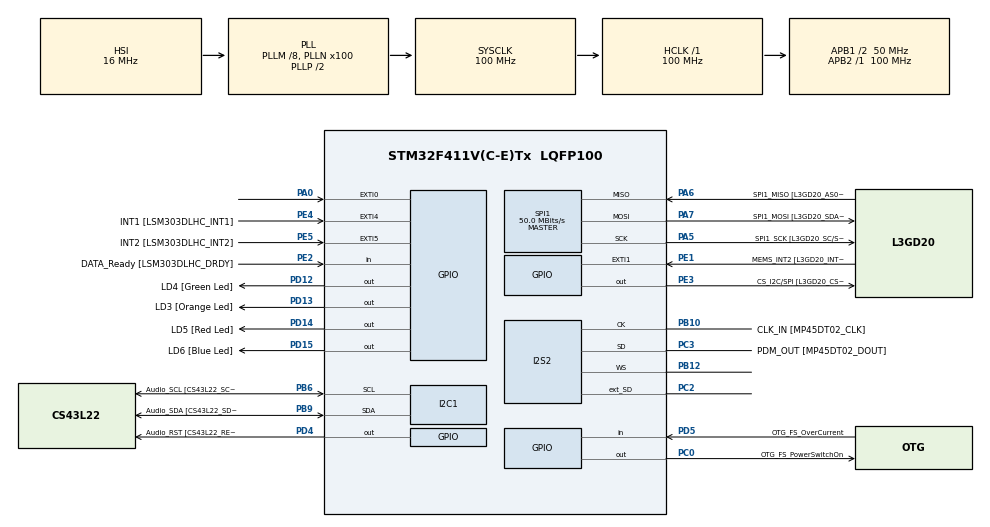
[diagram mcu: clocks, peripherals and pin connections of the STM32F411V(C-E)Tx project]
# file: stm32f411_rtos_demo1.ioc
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I2S2.AudioFreq=I2S_AUDIOFREQ_96K
I2S2.ErrorAudioFreq=1.72 %
I2S2.FullDuplexMode=I2S_FULLDUPLEXMODE_ENABLE
I2S2.Instance=SPI$Index
I2S2.RealAudioFreq=97.656 KHz
I2S2.VirtualMode=I2S_MODE_MASTER
Mcu.Family=STM32F4
Mcu.Name=STM32F411V(C-E)Tx
Mcu.Package=LQFP100
NVIC.PriorityGroup=NVIC_PRIORITYGROUP_4
NVIC.TIM5_IRQn=true\:0\:0\:false\:false\:true\:false\:true\:true
NVIC.TimeBase=TIM5_IRQn
NVIC.TimeBaseIP=TIM5
PA0-WKUP.GPIO_ModeDefaultEXTI=GPIO_MODE_EVT_RISING
PA0-WKUP.Signal=GPXTI0
PA10.GPIO_Label=OTG_FS_ID
PA10.Signal=USB_OTG_FS_ID
PA11.GPIO_Label=OTG_FS_DM
PA11.Signal=USB_OTG_FS_DM
PA12.GPIO_Label=OTG_FS_DP
PA12.Signal=USB_OTG_FS_DP
PA13.GPIO_Label=SWDIO
PA13.Mode=Serial_Wire
PA13.Signal=SYS_JTMS-SWDIO
PA14.GPIO_Label=SWCLK
PA14.Mode=Serial_Wire
PA14.Signal=SYS_JTCK-SWCLK
PA4.GPIO_Label=I2S3_WS [CS43L22_LRCK]
PA4.GPIO_Mode=GPIO_MODE_AF_PP
PA4.GPIO_PuPd=GPIO_NOPULL
PA4.GPIO_Speed=GPIO_SPEED_FREQ_LOW
PA4.Signal=I2S3_WS
PA5.GPIO_Label=SPI1_SCK [L3GD20_SC/SPC]
PA5.Mode=Full_Duplex_Master
PA5.Signal=SPI1_SCK
PA6.GPIO_Label=SPI1_MISO [L3GD20_AS0/SDO]
PA6.Mode=Full_Duplex_Master
PA6.Signal=SPI1_MISO
PA7.GPIO_Label=SPI1_MOSI [L3GD20_SDA/SDI/SDO]
PA7.Mode=Full_Duplex_Master
PA7.Signal=SPI1_MOSI
PA9.GPIO_Label=VBUS_FS
PA9.Signal=USB_OTG_FS_VBUS
PB10.GPIO_Label=CLK_IN [MP45DT02_CLK]
PB10.Mode=Full_Duplex_Master
PB10.Signal=I2S2_CK
PB12.Mode=Full_Duplex_Master
PB12.Signal=I2S2_WS
PB3.GPIO_Label=SWO
PB3.Signal=SYS_JTDO-SWO
PB6.GPIO_Label=Audio_SCL [CS43L22_SCL]
PB6.GPIO_Mode=GPIO_MODE_AF_OD
PB6.GPIO_Pu=GPIO_PULLUP
PB6.GPIO_PuPd=GPIO_NOPULL
PB6.GPIO_Speed=GPIO_SPEED_FREQ_LOW
PB6.Mode=I2C
PB6.Signal=I2C1_SCL
PB9.GPIO_Label=Audio_SDA [CS43L22_SDA]
PB9.GPIO_Mode=GPIO_MODE_AF_OD
PB9.GPIO_Pu=GPIO_PULLUP
PB9.GPIO_PuPd=GPIO_NOPULL
PB9.GPIO_Speed=GPIO_SPEED_FREQ_LOW
PB9.Mode=I2C
PB9.Signal=I2C1_SDA
PC0.GPIO_Label=OTG_FS_PowerSwitchOn
PC0.PinState=GPIO_PIN_SET
PC0.Signal=GPIO_Output
PC10.GPIO_Label=I2S3_SCK [CS43L22_SCLK]
PC10.GPIO_Mode=GPIO_MODE_AF_PP
PC10.GPIO_PuPd=GPIO_NOPULL
PC10.GPIO_Speed=GPIO_SPEED_FREQ_LOW
PC10.Signal=I2S3_CK
PC12.GPIO_Label=I2S3_SD [CS43L22_SDIN]
PC12.GPIO_Mode=GPIO_MODE_AF_PP
PC12.GPIO_PuPd=GPIO_NOPULL
PC12.GPIO_Speed=GPIO_SPEED_FREQ_LOW
PC12.Signal=I2S3_SD
PC14-OSC32_IN.GPIO_Label=PC14-OSC32_IN
PC14-OSC32_IN.Signal=RCC_OSC32_IN
PC15-OSC32_OUT.GPIO_Label=PC15-OSC32_OUT
PC15-OSC32_OUT.Signal=RCC_OSC32_OUT
PC2.Mode=Full_Duplex_Master
PC2.Signal=I2S2_ext_SD
PC3.GPIO_Label=PDM_OUT [MP45DT02_DOUT]
PC3.Mode=Full_Duplex_Master
PC3.Signal=I2S2_SD
PC7.GPIO_Label=I2S3_MCK [CS43L22_MCLK]
PC7.GPIO_Mode=GPIO_MODE_AF_PP
PC7.GPIO_PuPd=GPIO_NOPULL
PC7.GPIO_Speed=GPIO_SPEED_FREQ_LOW
PC7.Signal=I2S3_MCK
PD12.GPIO_Label=LD4 [Green Led]
PD12.GPIO_PuPd=GPIO_NOPULL
PD12.GPIO_Speed=GPIO_SPEED_FREQ_LOW
PD12.Signal=GPIO_Output
PD13.GPIO_Label=LD3 [Orange Led]
PD13.GPIO_PuPd=GPIO_NOPULL
PD13.GPIO_Speed=GPIO_SPEED_FREQ_LOW
PD13.Signal=GPIO_Output
PD14.GPIO_Label=LD5 [Red Led]
PD14.GPIO_PuPd=GPIO_NOPULL
PD14.GPIO_Speed=GPIO_SPEED_FREQ_LOW
PD14.Signal=GPIO_Output
PD15.GPIO_Label=LD6 [Blue Led]
PD15.GPIO_PuPd=GPIO_NOPULL
PD15.GPIO_Speed=GPIO_SPEED_FREQ_LOW
PD15.Signal=GPIO_Output
PD4.GPIO_Label=Audio_RST [CS43L22_RESET]
PD4.Signal=GPIO_Output
PD5.GPIO_Label=OTG_FS_OverCurrent
PD5.Signal=GPIO_Input
PE1.GPIO_Label=MEMS_INT2 [L3GD20_INT2]
PE1.GPIO_ModeDefaultEXTI=GPIO_MODE_EVT_RISING
PE1.Signal=GPXTI1
PE2.GPIO_Label=DATA_Ready [LSM303DLHC_DRDY]
PE2.Signal=GPIO_Input
PE3.GPIO_Label=CS_I2C/SPI [L3GD20_CS_I2C/SPI]
PE3.Signal=GPIO_Output
PE4.GPIO_Label=INT1 [LSM303DLHC_INT1]
PE4.GPIO_ModeDefaultEXTI=GPIO_MODE_EVT_RISING
PE4.Signal=GPXTI4
PE5.GPIO_Label=INT2 [LSM303DLHC_INT2]
PE5.GPIO_ModeDefaultEXTI=GPIO_MODE_EVT_RISING
PE5.Signal=GPXTI5
PH0\ -\ OSC_IN.GPIO_Label=PH0-OSC_IN
PH0\ -\ OSC_IN.Signal=RCC_OSC_IN
PH1\ -\ OSC_OUT.GPIO_Label=PH1-OSC_OUT
PH1\ -\ OSC_OUT.Signal=RCC_OSC_OUT
ProjectManager.HeapSize=0x200
ProjectManager.StackSize=0x400
ProjectManager.TargetToolchain=STM32CubeIDE
RCC.48MHZClocksFreq_Value=18181818.181818184
RCC.AHBFreq_Value=100000000
RCC.APB1CLKDivider=RCC_HCLK_DIV2
RCC.APB1Freq_Value=50000000
RCC.APB1TimFreq_Value=100000000
RCC.APB2Freq_Value=100000000
RCC.APB2TimFreq_Value=100000000
RCC.CortexFreq_Value=100000000
RCC.HCLKFreq_Value=100000000
RCC.HSE_VALUE=8000000
RCC.HSI_VALUE=16000000
RCC.PLLI2SM=8
RCC.PLLI2SN=50
RCC.PLLM=8
RCC.PLLN=100
RCC.PLLQ=11
RCC.SYSCLKFreq_VALUE=100000000
RCC.SYSCLKSource=RCC_SYSCLKSOURCE_PLLCLK
RCC.VCOOutputFreq_Value=200000000
SPI1.BaudRatePrescaler=SPI_BAUDRATEPRESCALER_2
SPI1.CalculateBaudRate=50.0 MBits/s
SPI1.Direction=SPI_DIRECTION_2LINES
SPI1.Mode=SPI_MODE_MASTER
SPI1.VirtualType=VM_MASTER
VP_SYS_VS_tim5.Mode=TIM5
board=STM32F411E-DISCO

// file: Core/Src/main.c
/* USER CODE BEGIN Header */
/**
  ******************************************************************************
  * @file           : main.c
  * @brief          : Main program body
  ******************************************************************************
  * @attention
  *
  * Copyright (c) 2023 STMicroelectronics.
  * All rights reserved.
  *
  * This software is licensed under terms that can be found in the LICENSE file
  * in the root directory of this software component.
  * If no LICENSE file comes with this software, it is provided AS-IS.
  *
  ******************************************************************************
  */
/* USER CODE END Header */
#include "main.h"

/* USER CODE BEGIN Includes */
#include <stdio.h>
#include "FreeRTOS.h"
#include "task.h"

/* USER CODE END Includes */

I2C_HandleTypeDef hi2c1;

I2S_HandleTypeDef hi2s2;

SPI_HandleTypeDef hspi1;

/* USER CODE BEGIN PV */
#define DWT_CTRL 	( *(volatile uint32_t*) 0xE0001000 )

/* USER CODE END PV */

void SystemClock_Config(void);
static void MX_GPIO_Init(void);
static void MX_I2C1_Init(void);
static void MX_I2S2_Init(void);
static void MX_SPI1_Init(void);
/* USER CODE BEGIN PFP */
static void task1_handler(void *parameters);
static void task2_handler(void *parameters);

/* USER CODE END PFP */

int main(void)
{
  /* USER CODE BEGIN 1 */
	TaskHandle_t task1_handle;
	TaskHandle_t task2_handle;
	BaseType_t task_status;
  /* USER CODE END 1 */

  /* MCU Configuration--------------------------------------------------------*/

  /* Reset of all peripherals, Initializes the Flash interface and the Systick. */
  HAL_Init();

  /* Configure the system clock */
  SystemClock_Config();

  /* Initialize all configured peripherals */
  MX_GPIO_Init();
  MX_I2C1_Init();
  MX_I2S2_Init();
  MX_SPI1_Init();
  /* USER CODE BEGIN 2 */
  //enable CYCCNT counter
  DWT_CTRL |= (1 << 0);

  SEGGER_SYSVIEW_Conf();
  SEGGER_SYSVIEW_Start();

  task_status = xTaskCreate(task1_handler, "Task_1", 200, "Hello world from task 1", 2, &task1_handle);
  configASSERT( task_status == pdPASS);
  task_status = xTaskCreate(task2_handler, "Task_2", 200, "Hello world from task 2", 2, &task2_handle);
  configASSERT( task_status == pdPASS);

  /*start freeRTOS scheduler*/
  vTaskStartScheduler();

  /* USER CODE END 2 */

  /* Infinite loop */
  while (1)
  {

  }
}

void SystemClock_Config(void)
{
  RCC_OscInitTypeDef RCC_OscInitStruct = {0};
  RCC_ClkInitTypeDef RCC_ClkInitStruct = {0};

  /** Configure the main internal regulator output voltage
  */
  __HAL_RCC_PWR_CLK_ENABLE();
  __HAL_PWR_VOLTAGESCALING_CONFIG(PWR_REGULATOR_VOLTAGE_SCALE1);

  /** Initializes the RCC Oscillators according to the specified parameters
  * in the RCC_OscInitTypeDef structure.
  */
  RCC_OscInitStruct.OscillatorType = RCC_OSCILLATORTYPE_HSI;
  RCC_OscInitStruct.HSIState = RCC_HSI_ON;
  RCC_OscInitStruct.HSICalibrationValue = RCC_HSICALIBRATION_DEFAULT;
  RCC_OscInitStruct.PLL.PLLState = RCC_PLL_ON;
  RCC_OscInitStruct.PLL.PLLSource = RCC_PLLSOURCE_HSI;
  RCC_OscInitStruct.PLL.PLLM = 8;
  RCC_OscInitStruct.PLL.PLLN = 100;
  RCC_OscInitStruct.PLL.PLLP = RCC_PLLP_DIV2;
  RCC_OscInitStruct.PLL.PLLQ = 11;
  if (HAL_RCC_OscConfig(&RCC_OscInitStruct) != HAL_OK)
  {
    Error_Handler();
  }

  /** Initializes the CPU, AHB and APB buses clocks
  */
  RCC_ClkInitStruct.ClockType = RCC_CLOCKTYPE_HCLK|RCC_CLOCKTYPE_SYSCLK
                              |RCC_CLOCKTYPE_PCLK1|RCC_CLOCKTYPE_PCLK2;
  RCC_ClkInitStruct.SYSCLKSource = RCC_SYSCLKSOURCE_PLLCLK;
  RCC_ClkInitStruct.AHBCLKDivider = RCC_SYSCLK_DIV1;
  RCC_ClkInitStruct.APB1CLKDivider = RCC_HCLK_DIV2;
  RCC_ClkInitStruct.APB2CLKDivider = RCC_HCLK_DIV1;

  if (HAL_RCC_ClockConfig(&RCC_ClkInitStruct, FLASH_LATENCY_3) != HAL_OK)
  {
    Error_Handler();
  }
}

static void MX_I2C1_Init(void)
{

  hi2c1.Instance = I2C1;
  hi2c1.Init.ClockSpeed = 100000;
  hi2c1.Init.DutyCycle = I2C_DUTYCYCLE_2;
  hi2c1.Init.OwnAddress1 = 0;
  hi2c1.Init.AddressingMode = I2C_ADDRESSINGMODE_7BIT;
  hi2c1.Init.DualAddressMode = I2C_DUALADDRESS_DISABLE;
  hi2c1.Init.OwnAddress2 = 0;
  hi2c1.Init.GeneralCallMode = I2C_GENERALCALL_DISABLE;
  hi2c1.Init.NoStretchMode = I2C_NOSTRETCH_DISABLE;
  if (HAL_I2C_Init(&hi2c1) != HAL_OK)
  {
    Error_Handler();
  }

}

static void MX_I2S2_Init(void)
{

  hi2s2.Instance = SPI2;
  hi2s2.Init.Mode = I2S_MODE_MASTER_TX;
  hi2s2.Init.Standard = I2S_STANDARD_PHILIPS;
  hi2s2.Init.DataFormat = I2S_DATAFORMAT_16B;
  hi2s2.Init.MCLKOutput = I2S_MCLKOUTPUT_DISABLE;
  hi2s2.Init.AudioFreq = I2S_AUDIOFREQ_96K;
  hi2s2.Init.CPOL = I2S_CPOL_LOW;
  hi2s2.Init.ClockSource = I2S_CLOCK_PLL;
  hi2s2.Init.FullDuplexMode = I2S_FULLDUPLEXMODE_ENABLE;
  if (HAL_I2S_Init(&hi2s2) != HAL_OK)
  {
    Error_Handler();
  }

}

static void MX_SPI1_Init(void)
{

  /* SPI1 parameter configuration*/
  hspi1.Instance = SPI1;
  hspi1.Init.Mode = SPI_MODE_MASTER;
  hspi1.Init.Direction = SPI_DIRECTION_2LINES;
  hspi1.Init.DataSize = SPI_DATASIZE_8BIT;
  hspi1.Init.CLKPolarity = SPI_POLARITY_LOW;
  hspi1.Init.CLKPhase = SPI_PHASE_1EDGE;
  hspi1.Init.NSS = SPI_NSS_SOFT;
  hspi1.Init.BaudRatePrescaler = SPI_BAUDRATEPRESCALER_2;
  hspi1.Init.FirstBit = SPI_FIRSTBIT_MSB;
  hspi1.Init.TIMode = SPI_TIMODE_DISABLE;
  hspi1.Init.CRCCalculation = SPI_CRCCALCULATION_DISABLE;
  hspi1.Init.CRCPolynomial = 10;
  if (HAL_SPI_Init(&hspi1) != HAL_OK)
  {
    Error_Handler();
  }

}

static void MX_GPIO_Init(void)
{
  GPIO_InitTypeDef GPIO_InitStruct = {0};

  /* GPIO Ports Clock Enable */
  __HAL_RCC_GPIOE_CLK_ENABLE();
  __HAL_RCC_GPIOC_CLK_ENABLE();
  __HAL_RCC_GPIOH_CLK_ENABLE();
  __HAL_RCC_GPIOA_CLK_ENABLE();
  __HAL_RCC_GPIOB_CLK_ENABLE();
  __HAL_RCC_GPIOD_CLK_ENABLE();

  /*Configure GPIO pin Output Level */
  HAL_GPIO_WritePin(CS_I2C_SPI_GPIO_Port, CS_I2C_SPI_Pin, GPIO_PIN_RESET);

  /*Configure GPIO pin Output Level */
  HAL_GPIO_WritePin(OTG_FS_PowerSwitchOn_GPIO_Port, OTG_FS_PowerSwitchOn_Pin, GPIO_PIN_SET);

  /*Configure GPIO pin Output Level */
  HAL_GPIO_WritePin(GPIOD, LD4_Pin|LD3_Pin|LD5_Pin|LD6_Pin
                          |Audio_RST_Pin, GPIO_PIN_RESET);

  /*Configure GPIO pin : DATA_Ready_Pin */
  GPIO_InitStruct.Pin = DATA_Ready_Pin;
  GPIO_InitStruct.Mode = GPIO_MODE_INPUT;
  GPIO_InitStruct.Pull = GPIO_NOPULL;
  HAL_GPIO_Init(DATA_Ready_GPIO_Port, &GPIO_InitStruct);

  /*Configure GPIO pin : CS_I2C_SPI_Pin */
  GPIO_InitStruct.Pin = CS_I2C_SPI_Pin;
  GPIO_InitStruct.Mode = GPIO_MODE_OUTPUT_PP;
  GPIO_InitStruct.Pull = GPIO_NOPULL;
  GPIO_InitStruct.Speed = GPIO_SPEED_FREQ_LOW;
  HAL_GPIO_Init(CS_I2C_SPI_GPIO_Port, &GPIO_InitStruct);

  /*Configure GPIO pins : INT1_Pin INT2_Pin MEMS_INT2_Pin */
  GPIO_InitStruct.Pin = INT1_Pin|INT2_Pin|MEMS_INT2_Pin;
  GPIO_InitStruct.Mode = GPIO_MODE_EVT_RISING;
  GPIO_InitStruct.Pull = GPIO_NOPULL;
  HAL_GPIO_Init(GPIOE, &GPIO_InitStruct);

  /*Configure GPIO pin : OTG_FS_PowerSwitchOn_Pin */
  GPIO_InitStruct.Pin = OTG_FS_PowerSwitchOn_Pin;
  GPIO_InitStruct.Mode = GPIO_MODE_OUTPUT_PP;
  GPIO_InitStruct.Pull = GPIO_NOPULL;
  GPIO_InitStruct.Speed = GPIO_SPEED_FREQ_LOW;
  HAL_GPIO_Init(OTG_FS_PowerSwitchOn_GPIO_Port, &GPIO_InitStruct);

  /*Configure GPIO pin : PA0 */
  GPIO_InitStruct.Pin = GPIO_PIN_0;
  GPIO_InitStruct.Mode = GPIO_MODE_EVT_RISING;
  GPIO_InitStruct.Pull = GPIO_NOPULL;
  HAL_GPIO_Init(GPIOA, &GPIO_InitStruct);

  /*Configure GPIO pin : I2S3_WS_Pin */
  GPIO_InitStruct.Pin = I2S3_WS_Pin;
  GPIO_InitStruct.Mode = GPIO_MODE_AF_PP;
  GPIO_InitStruct.Pull = GPIO_NOPULL;
  GPIO_InitStruct.Speed = GPIO_SPEED_FREQ_LOW;
  GPIO_InitStruct.Alternate = GPIO_AF6_SPI3;
  HAL_GPIO_Init(I2S3_WS_GPIO_Port, &GPIO_InitStruct);

  /*Configure GPIO pins : LD4_Pin LD3_Pin LD5_Pin LD6_Pin
                           Audio_RST_Pin */
  GPIO_InitStruct.Pin = LD4_Pin|LD3_Pin|LD5_Pin|LD6_Pin
                          |Audio_RST_Pin;
  GPIO_InitStruct.Mode = GPIO_MODE_OUTPUT_PP;
  GPIO_InitStruct.Pull = GPIO_NOPULL;
  GPIO_InitStruct.Speed = GPIO_SPEED_FREQ_LOW;
  HAL_GPIO_Init(GPIOD, &GPIO_InitStruct);

  /*Configure GPIO pins : I2S3_MCK_Pin I2S3_SCK_Pin I2S3_SD_Pin */
  GPIO_InitStruct.Pin = I2S3_MCK_Pin|I2S3_SCK_Pin|I2S3_SD_Pin;
  GPIO_InitStruct.Mode = GPIO_MODE_AF_PP;
  GPIO_InitStruct.Pull = GPIO_NOPULL;
  GPIO_InitStruct.Speed = GPIO_SPEED_FREQ_LOW;
  GPIO_InitStruct.Alternate = GPIO_AF6_SPI3;
  HAL_GPIO_Init(GPIOC, &GPIO_InitStruct);

  /*Configure GPIO pin : VBUS_FS_Pin */
  GPIO_InitStruct.Pin = VBUS_FS_Pin;
  GPIO_InitStruct.Mode = GPIO_MODE_INPUT;
  GPIO_InitStruct.Pull = GPIO_NOPULL;
  HAL_GPIO_Init(VBUS_FS_GPIO_Port, &GPIO_InitStruct);

  /*Configure GPIO pins : OTG_FS_ID_Pin OTG_FS_DM_Pin OTG_FS_DP_Pin */
  GPIO_InitStruct.Pin = OTG_FS_ID_Pin|OTG_FS_DM_Pin|OTG_FS_DP_Pin;
  GPIO_InitStruct.Mode = GPIO_MODE_AF_PP;
  GPIO_InitStruct.Pull = GPIO_NOPULL;
  GPIO_InitStruct.Speed = GPIO_SPEED_FREQ_VERY_HIGH;
  GPIO_InitStruct.Alternate = GPIO_AF10_OTG_FS;
  HAL_GPIO_Init(GPIOA, &GPIO_InitStruct);

  /*Configure GPIO pin : OTG_FS_OverCurrent_Pin */
  GPIO_InitStruct.Pin = OTG_FS_OverCurrent_Pin;
  GPIO_InitStruct.Mode = GPIO_MODE_INPUT;
  GPIO_InitStruct.Pull = GPIO_NOPULL;
  HAL_GPIO_Init(OTG_FS_OverCurrent_GPIO_Port, &GPIO_InitStruct);

}

/* USER CODE BEGIN 4 */
static void task1_handler(void *parameters)
{
	while(1) {
		printf("%s\n", (char*)parameters);
	}
}

static void task2_handler(void *parameters)
{
	while(1) {
		printf("%s\n", (char*)parameters);
	}
}

/* USER CODE END 4 */

void HAL_TIM_PeriodElapsedCallback(TIM_HandleTypeDef *htim)
{
  if (htim->Instance == TIM5) {
    HAL_IncTick();
  }
}

void Error_Handler(void)
{
  __disable_irq();
  while (1)
  {
  }
}
